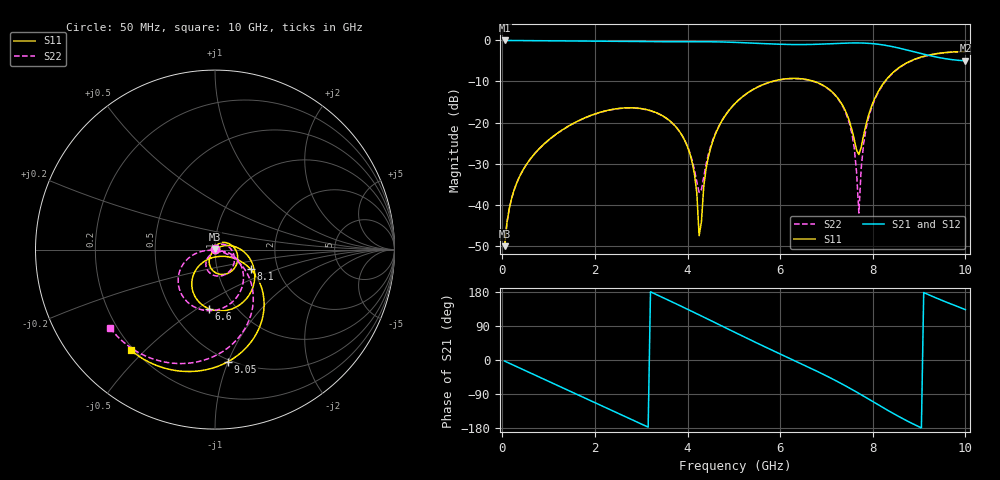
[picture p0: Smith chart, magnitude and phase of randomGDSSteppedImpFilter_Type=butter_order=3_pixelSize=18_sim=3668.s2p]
! freq	dB(S11)	phase(S11)	dB(S12)	phase(S12)
!  dB(S21)	phase(S21)	dB(S22)	phase(S22)
!S-par simulation data
#  GHz  S  DB  R 50
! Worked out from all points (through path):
!   200 points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, 50 MHz to 10 GHz, reference 50 ohm
!   highest |S21| = -0.01 dB at 50 MHz (marker M1); lowest = -5.0 dB at 10 GHz (marker M2)
!   group delay of S21, straight-line fit = 165 ps
!   lowest |S11| = -50.1 dB at 50 MHz (marker M3), VSWR 1.01, Z = 50.1 + j0.306 ohm
!   |S11| at or under -10 dB: start of sweep to 5.826 GHz; 6.737 GHz to 8.261 GHz (1.524 GHz wide, 20.3 % of centre)
!   |S22| runs from -50.1 to -2.7 dB; largest |S21 - S12| = 0
!   S11 on the Smith chart (normalised r, x): 50 MHz: 1.00, +0.01; 6.6 GHz: 0.76, -0.56; 8.1 GHz: 1.45, -0.34; 9.05 GHz: 0.48, -1.00; 10 GHz: 0.19, -0.45
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0.05  -50.10 77.9  -0.01 -2.9  -0.01 -2.9  -50.09 77.1
0.2  -38.55 76.6  -0.02 -11.3  -0.02 -11.3  -38.52 73.4
0.5  -30.58 64.6  -0.04 -28.2  -0.04 -28.2  -30.58 56.7
1.75  -19.00 1.6  -0.17 -98.5  -0.17 -98.5  -19.06 -17.5
2.65  -16.43 -48.2  -0.28 -149.0  -0.28 -149.0  -16.48 -68.0
3.4  -17.98 -90.4  -0.31 168.6  -0.31 168.6  -18.03 -107.9
4.05  -27.58 -127.6  -0.29 131.0  -0.29 131.0  -27.32 -132.1
4.2  -37.12 -134.9  -0.29 122.1  -0.29 122.1  -34.45 -112.7
4.25  -47.55 -113.5  -0.30 119.2  -0.30 119.2  -37.01 -85.4
4.5  -26.16 24.3  -0.32 104.3  -0.32 104.3  -25.76 -11.8
5.05  -15.08 -8.1  -0.48 71.3  -0.48 71.3  -15.07 -33.0
5.85  -9.92 -54.3  -0.87 24.5  -0.87 24.5  -9.96 -76.5
6.6  -9.58 -95.6  -0.99 -18.3  -0.99 -18.3  -9.63 -117.8
6.7  -9.87 -101.0  -0.97 -24.1  -0.97 -24.1  -9.92 -123.4
7.45  -18.23 -134.6  -0.64 -70.8  -0.64 -70.8  -18.62 -167.6
7.6  -24.12 -123.3  -0.61 -81.1  -0.61 -81.1  -26.15 -174.3
7.7  -27.80 -76.7  -0.61 -88.1  -0.61 -88.1  -42.03 -83.7
7.8  -23.23 -33.5  -0.64 -95.2  -0.64 -95.2  -25.33 -19.1
8.1  -12.83 -28.8  -0.90 -116.8  -0.90 -116.8  -13.07 -36.4
8.35  -8.79 -42.5  -1.35 -134.7  -1.35 -134.7  -8.92 -53.4
9.05  -4.03 -83.4  -3.22 -179.1  -3.22 -179.1  -4.09 -96.8
10  -2.72 -130.0  -4.96 133.0  -4.96 133.0  -2.74 -143.4
